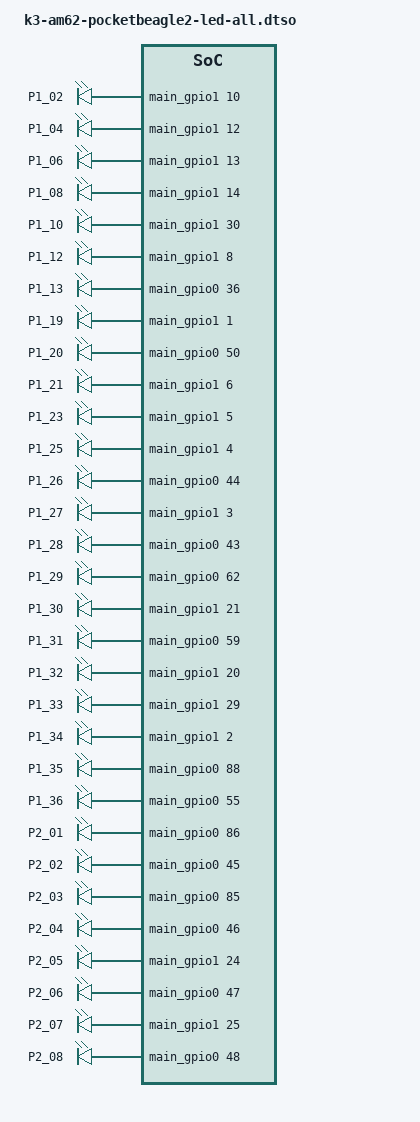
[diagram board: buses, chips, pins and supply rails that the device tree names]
/dts-v1/;
/plugin/;

#include <dt-bindings/gpio/gpio.h>
#include <dt-bindings/leds/common.h>

/*
 * Helper to show loaded overlays under: /proc/device-tree/chosen/overlays/
 */
&{/chosen} {
	overlays {
		k3-am62-pocketbeagle2-led-all.kernel = __TIMESTAMP__;
	};
};

&{/} {
	leds {
		compatible = "gpio-leds";
		pinctrl-names = "default";
		pinctrl-0 = <&P1_02_E18_gpio>,
					<&P1_04_D20_gpio>,
					<&P1_06_E19_gpio>,
					<&P1_08_gpio>,
					<&P1_10_A18_gpio>,
					<&P1_12_A19_gpio>,
					<&P1_13_gpio>,
					<&P1_19_gpio>,
					<&P1_20_gpio>,
					<&P1_21_gpio>,
					<&P1_23_gpio>,
					<&P1_25_gpio>,
					<&P1_26_K24_gpio>,
					<&P1_27_gpio>,
					<&P1_28_K22_gpio>,
					<&P1_29_gpio>,
					<&P1_30_gpio>,
					<&P1_31_gpio>,
					<&P1_32_gpio>,
					<&P1_33_A17_gpio>,
					<&P1_34_gpio>,
					<&P1_35_gpio>,
					<&P1_36_V20_gpio>,
					<&P2_01_AD24_gpio>,
					<&P2_02_gpio>,
					<&P2_03_AB22_gpio>,
					<&P2_04_gpio>,
					<&P2_05_C15_gpio>,
					<&P2_06_gpio>,
					<&P2_07_E15_gpio>,
					<&P2_08_gpio>;
		bootph-all;

		pin@102 {
			label = "P1_02";
			linux,default-trigger = "heartbeat";
			gpios = <&main_gpio1 10 GPIO_ACTIVE_HIGH>;
			default-state = "on";
		};

		pin@104 {
			label = "P1_04";
			linux,default-trigger = "heartbeat";
			gpios = <&main_gpio1 12 GPIO_ACTIVE_HIGH>;
			default-state = "on";
		};

		pin@106 {
			label = "P1_06";
			linux,default-trigger = "heartbeat";
			gpios = <&main_gpio1 13 GPIO_ACTIVE_HIGH>;
			default-state = "on";
		};

		pin@108 {
			label = "P1_08";
			linux,default-trigger = "heartbeat";
			gpios = <&main_gpio1 14 GPIO_ACTIVE_HIGH>;
			default-state = "on";
		};

		pin@110 {
			label = "P1_10";
			linux,default-trigger = "heartbeat";
			gpios = <&main_gpio1 30 GPIO_ACTIVE_HIGH>;
			default-state = "on";
		};

		pin@112 {
			label = "P1_12";
			linux,default-trigger = "heartbeat";
			gpios = <&main_gpio1 8 GPIO_ACTIVE_HIGH>;
			default-state = "on";
		};

		pin@113 {
			label = "P1_13";
			linux,default-trigger = "heartbeat";
			gpios = <&main_gpio0 36 GPIO_ACTIVE_HIGH>;
			default-state = "on";
		};

		pin@119 {
			label = "P1_19";
			linux,default-trigger = "heartbeat";
			gpios = <&main_gpio1 1 GPIO_ACTIVE_HIGH>;
			default-state = "on";
		};

		pin@120 {
			label = "P1_20";
			linux,default-trigger = "heartbeat";
			gpios = <&main_gpio0 50 GPIO_ACTIVE_HIGH>;
			default-state = "on";
		};

		pin@121 {
			label = "P1_21";
			linux,default-trigger = "heartbeat";
			gpios = <&main_gpio1 6 GPIO_ACTIVE_HIGH>;
			default-state = "on";
		};

		pin@123 {
			label = "P1_23";
			linux,default-trigger = "heartbeat";
			gpios = <&main_gpio1 5 GPIO_ACTIVE_HIGH>;
			default-state = "on";
		};

		pin@125 {
			label = "P1_25";
			linux,default-trigger = "heartbeat";
			gpios = <&main_gpio1 4 GPIO_ACTIVE_HIGH>;
			default-state = "on";
		};

		pin@126 {
			label = "P1_26";
			linux,default-trigger = "heartbeat";
			gpios = <&main_gpio0 44 GPIO_ACTIVE_HIGH>;
			default-state = "on";
		};

		pin@127 {
			label = "P1_27";
			linux,default-trigger = "heartbeat";
			gpios = <&main_gpio1 3 GPIO_ACTIVE_HIGH>;
			default-state = "on";
		};

		pin@128 {
			label = "P1_28";
			linux,default-trigger = "heartbeat";
			gpios = <&main_gpio0 43 GPIO_ACTIVE_HIGH>;
			default-state = "on";
		};

		pin@129 {
			label = "P1_29";
			linux,default-trigger = "heartbeat";
			gpios = <&main_gpio0 62 GPIO_ACTIVE_HIGH>;
			default-state = "on";
		};

		pin@130 {
			label = "P1_30";
			linux,default-trigger = "heartbeat";
			gpios = <&main_gpio1 21 GPIO_ACTIVE_HIGH>;
			default-state = "on";
		};

		pin@131 {
			label = "P1_31";
			linux,default-trigger = "heartbeat";
			gpios = <&main_gpio0 59 GPIO_ACTIVE_HIGH>;
			default-state = "on";
		};

		pin@132 {
			label = "P1_32";
			linux,default-trigger = "heartbeat";
			gpios = <&main_gpio1 20 GPIO_ACTIVE_HIGH>;
			default-state = "on";
		};

		pin@133 {
			label = "P1_33";
			linux,default-trigger = "heartbeat";
			gpios = <&main_gpio1 29 GPIO_ACTIVE_HIGH>;
			default-state = "on";
		};

		pin@134 {
			label = "P1_34";
			linux,default-trigger = "heartbeat";
			gpios = <&main_gpio1 2 GPIO_ACTIVE_HIGH>;
			default-state = "on";
		};

		pin@135 {
			label = "P1_35";
			linux,default-trigger = "heartbeat";
			gpios = <&main_gpio0 88 GPIO_ACTIVE_HIGH>;
			default-state = "on";
		};

		pin@136 {
			label = "P1_36";
			linux,default-trigger = "heartbeat";
			gpios = <&main_gpio0 55 GPIO_ACTIVE_HIGH>;
			default-state = "on";
		};

		pin@201 {
			label = "P2_01";
			linux,default-trigger = "heartbeat";
			gpios = <&main_gpio0 86 GPIO_ACTIVE_HIGH>;
			default-state = "on";
		};

		pin@202 {
			label = "P2_02";
			linux,default-trigger = "heartbeat";
			gpios = <&main_gpio0 45 GPIO_ACTIVE_HIGH>;
			default-state = "on";
		};

		pin@203 {
			label = "P2_03";
			linux,default-trigger = "heartbeat";
			gpios = <&main_gpio0 85 GPIO_ACTIVE_HIGH>;
			default-state = "on";
		};

		pin@204 {
			label = "P2_04";
			linux,default-trigger = "heartbeat";
			gpios = <&main_gpio0 46 GPIO_ACTIVE_HIGH>;
			default-state = "on";
		};

		pin@205 {
			label = "P2_05";
			linux,default-trigger = "heartbeat";
			gpios = <&main_gpio1 24 GPIO_ACTIVE_HIGH>;
			default-state = "on";
		};

		pin@206 {
			label = "P2_06";
			linux,default-trigger = "heartbeat";
			gpios = <&main_gpio0 47 GPIO_ACTIVE_HIGH>;
			default-state = "on";
		};

		pin@207 {
			label = "P2_07";
			linux,default-trigger = "heartbeat";
			gpios = <&main_gpio1 25 GPIO_ACTIVE_HIGH>;
			default-state = "on";
		};

		pin@208 {
			label = "P2_08";
			linux,default-trigger = "heartbeat";
			gpios = <&main_gpio0 48 GPIO_ACTIVE_HIGH>;
			default-state = "on";
		};

	};
};

&main_uart0 {
	pinctrl-0 = <>;
	status = "disabled";
};

&main_i2c2 {
	pinctrl-0 = <>;
	status = "disabled";
};

&ecap2 {
	pinctrl-0 = <>;
	status = "disabled";
};

&epwm2 {
	pinctrl-0 = <>;
	status = "disabled";
};
